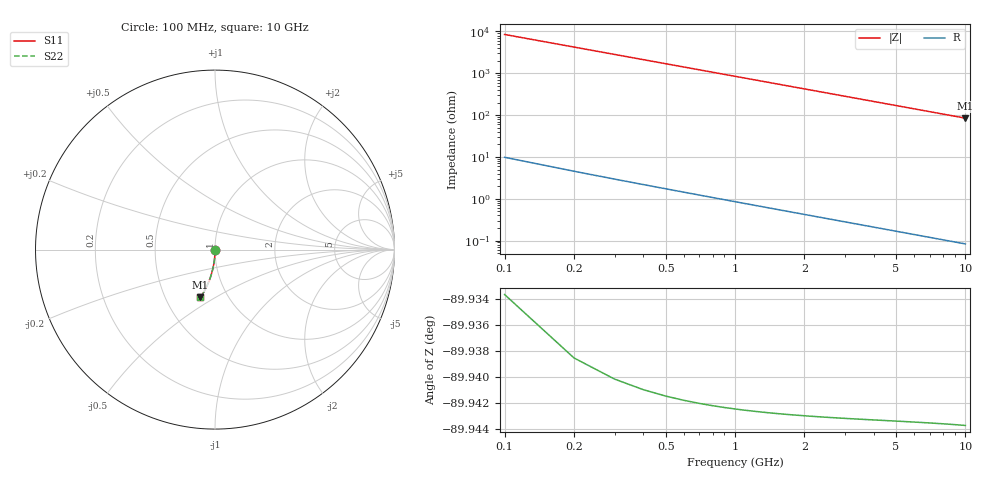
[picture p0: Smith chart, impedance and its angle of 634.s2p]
# Hz S RI R 50.00
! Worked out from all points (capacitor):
!   100 points, 100 MHz to 10 GHz, reference 50 ohm
!   read as one part in shunt: C = 188 fF near 100 MHz
!   lowest |Z| = 84.5 ohm at 10 GHz (marker M1)
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1e8  2.01e-05 -0.00289  1 -0.00301  1 -0.00301  2.01e-05 -0.00289
2e8  -8.69e-06 -0.00579  0.9999 -0.00602  0.9999 -0.00602  -8.69e-06 -0.00579
3e8  -5.5e-05 -0.00868  0.9999 -0.00903  0.9999 -0.00903  -5.5e-05 -0.00868
4e8  -0.000119 -0.0116  0.9998 -0.012  0.9998 -0.012  -0.000119 -0.0116
5e8  -0.0002 -0.0145  0.9997 -0.015  0.9997 -0.015  -0.0002 -0.0145
6e8  -0.000298 -0.0174  0.9996 -0.018  0.9996 -0.018  -0.000298 -0.0174
7e8  -0.000414 -0.0202  0.9995 -0.0211  0.9995 -0.0211  -0.000414 -0.0202
8e8  -0.000548 -0.0231  0.9994 -0.0241  0.9994 -0.0241  -0.000548 -0.0231
9e8  -0.000698 -0.026  0.9992 -0.0271  0.9992 -0.0271  -0.000698 -0.026
1.1e9  -0.00105 -0.0318  0.9989 -0.0331  0.9989 -0.0331  -0.00105 -0.0318
1.4e9  -0.00171 -0.0404  0.9982 -0.0421  0.9982 -0.0421  -0.00171 -0.0404
1.8e9  -0.00283 -0.0519  0.9971 -0.054  0.9971 -0.054  -0.00283 -0.0519
2.1e9  -0.00386 -0.0605  0.9961 -0.063  0.9961 -0.063  -0.00386 -0.0605
2.5e9  -0.00546 -0.072  0.9945 -0.0749  0.9945 -0.0749  -0.00546 -0.072
2.9e9  -0.00733 -0.0833  0.9926 -0.0867  0.9926 -0.0867  -0.00733 -0.0833
3.4e9  -0.01 -0.0974  0.9899 -0.1014  0.9899 -0.1014  -0.01 -0.0974
4.2e9  -0.0152 -0.1198  0.9847 -0.1246  0.9847 -0.1246  -0.0152 -0.1198
5.1e9  -0.0223 -0.1444  0.9776 -0.1503  0.9776 -0.1503  -0.0223 -0.1444
5.9e9  -0.0296 -0.1658  0.9703 -0.1727  0.9703 -0.1727  -0.0296 -0.1658
6.7e9  -0.0379 -0.1867  0.962 -0.1945  0.962 -0.1945  -0.0379 -0.1867
8.4e9  -0.0584 -0.2292  0.9415 -0.239  0.9415 -0.239  -0.0584 -0.2292
1e10  -0.0809 -0.2664  0.919 -0.2781  0.919 -0.2781  -0.0809 -0.2664
